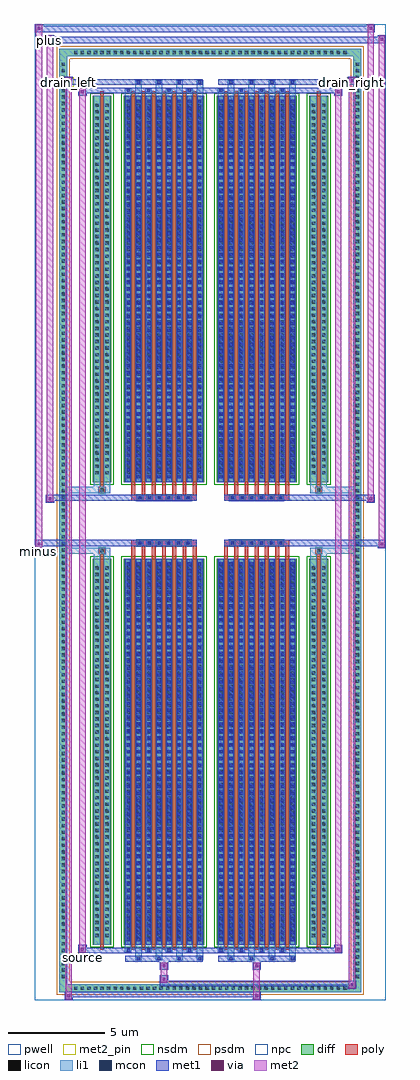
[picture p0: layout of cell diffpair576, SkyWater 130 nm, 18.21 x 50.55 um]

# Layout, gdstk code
import gdstk
lib = gdstk.Library(unit=1e-6, precision=5e-09)
def R(c, l, rs):  # rectangles x0, y0, x1, y1
    for r in rs: c.add(gdstk.rectangle(r[:2], r[2:], *l))
def A(c, l, x, y, w, h, nx, ny, dx, dy):  # array of equal rectangles
    R(c, l, [(x+i*dx, y+j*dy, x+i*dx+w, y+j*dy+h) for i in range(nx) for j in range(ny)])
def P(c, l, *ps):  # polygons
    for p in ps: c.add(gdstk.Polygon(p, *l))
pwell = (64, 44)
diff = (65, 20)
poly = (66, 20)
licon = (66, 44)
li1 = (67, 20)
mcon = (67, 44)
met1 = (68, 20)
via = (68, 44)
met2_pin = (69, 16)
met2 = (69, 20)
nsdm = (93, 44)
psdm = (94, 20)
npc = (95, 20)

diffpair576 = lib.new_cell('diffpair576')
R(diffpair576, pwell, [(-9.09,-24.84,9.09,25.71), (-6.41,-23.03,-0.01,-0.805), (0.01,-23.03,6.41,-0.805), (-6.41,0.805,-0.01,23.03), (0.01,0.805,6.41,23.03)])
A(diffpair576, diff, -7.175, -24.44, 0.41, 0.41, 42, 2, 0.34, 48.47)
A(diffpair576, diff, -7.82, -23.835, 0.41, 0.41, 1, 140, 0, 0.34)
A(diffpair576, diff, 7.41, -23.835, 0.41, 0.41, 1, 140, 0, 0.34)
R(diffpair576, diff, [(-7.175,-24.44,7.175,-24.03), (-7.82,-23.835,-7.41,23.835), (7.41,-23.835,7.82,23.835), (-6.1,-21.985,-5.12,-1.985), (-4.48,-21.985,-0.32,-1.985), (0.32,-21.985,4.48,-1.985), (5.12,-21.985,6.1,-1.985), (-6.1,1.985,-5.12,21.985), (-4.48,1.985,-0.32,21.985), (0.32,1.985,4.48,21.985), (5.12,1.985,6.1,21.985), (-7.175,24.03,7.175,24.44)])
P(diffpair576, diff, [(7.82,24.44),(-7.82,24.44),(-7.82,-24.03),(-7.41,-24.03),(-7.41,24.03),(7.41,24.03),(7.41,-24.03),(-7.41,-24.03),(-7.82,-24.03),(-7.82,-24.44),(7.82,-24.44)])
A(diffpair576, poly, -4.09, -22.235, 0.2, 20.5, 7, 2, 0.53, 23.97)
A(diffpair576, poly, 0.71, -22.235, 0.2, 20.5, 7, 2, 0.53, 23.97)
A(diffpair576, poly, -4.09, -1.735, 0.2, 0.4, 7, 2, 0.53, 3.07)
A(diffpair576, poly, 0.71, -1.735, 0.2, 0.4, 7, 2, 0.53, 3.07)
A(diffpair576, poly, -3.815, -1.335, 0.33, 0.33, 6, 2, 0.5, 2.34)
A(diffpair576, poly, 0.985, -1.335, 0.33, 0.33, 6, 2, 0.5, 2.34)
R(diffpair576, poly, [(-5.71,-22.235,-5.51,-1.735), (5.51,-22.235,5.71,-1.735), (-5.775,-1.735,-5.445,-1.405), (-5.775,-1.735,-5.445,-1.405), (5.445,-1.735,5.775,-1.405), (5.445,-1.735,5.775,-1.405), (-4.09,-1.335,-0.71,-1.005), (0.71,-1.335,4.09,-1.005), (-4.09,1.005,-0.71,1.335), (0.71,1.005,4.09,1.335), (-5.775,1.405,-5.445,1.735), (-5.775,1.405,-5.445,1.735), (5.445,1.405,5.775,1.735), (5.445,1.405,5.775,1.735), (-5.71,1.735,-5.51,22.235), (5.51,1.735,5.71,22.235)])
A(diffpair576, licon, -7.055, -24.32, 0.17, 0.17, 42, 2, 0.34, 48.47)
A(diffpair576, licon, -7.7, -23.715, 0.17, 0.17, 1, 140, 0, 0.34)
A(diffpair576, licon, 7.53, -23.715, 0.17, 0.17, 1, 140, 0, 0.34)
A(diffpair576, licon, -5.96, -21.59, 0.17, 0.17, 1, 57, 0, 0.34)
A(diffpair576, licon, -5.43, -21.59, 0.17, 0.17, 1, 57, 0, 0.34)
A(diffpair576, licon, -4.34, -21.59, 0.17, 0.17, 8, 57, 0.53, 0.34)
A(diffpair576, licon, 0.46, -21.59, 0.17, 0.17, 8, 57, 0.53, 0.34)
A(diffpair576, licon, 5.26, -21.59, 0.17, 0.17, 1, 57, 0, 0.34)
A(diffpair576, licon, 5.79, -21.59, 0.17, 0.17, 1, 57, 0, 0.34)
A(diffpair576, licon, -3.735, -1.255, 0.17, 0.17, 6, 2, 0.5, 2.34)
A(diffpair576, licon, 1.065, -1.255, 0.17, 0.17, 6, 2, 0.5, 2.34)
A(diffpair576, licon, -5.96, 2.38, 0.17, 0.17, 1, 57, 0, 0.34)
A(diffpair576, licon, -5.43, 2.38, 0.17, 0.17, 1, 57, 0, 0.34)
A(diffpair576, licon, -4.34, 2.38, 0.17, 0.17, 8, 57, 0.53, 0.34)
A(diffpair576, licon, 0.46, 2.38, 0.17, 0.17, 8, 57, 0.53, 0.34)
A(diffpair576, licon, 5.26, 2.38, 0.17, 0.17, 1, 57, 0, 0.34)
A(diffpair576, licon, 5.79, 2.38, 0.17, 0.17, 1, 57, 0, 0.34)
R(diffpair576, licon, [(-5.695,-1.655,-5.525,-1.485), (5.525,-1.655,5.695,-1.485), (-5.695,1.485,-5.525,1.655), (5.525,1.485,5.695,1.655)])
A(diffpair576, li1, -7.135, -24.4, 0.33, 0.33, 42, 2, 0.34, 48.47)
A(diffpair576, li1, -7.78, -23.795, 0.33, 0.33, 1, 140, 0, 0.34)
A(diffpair576, li1, 7.45, -23.795, 0.33, 0.33, 1, 140, 0, 0.34)
A(diffpair576, li1, -3.89, -22.79, 0.33, 0.805, 4, 2, 1.06, 44.775)
A(diffpair576, li1, -3.81, -22.79, 0.17, 0.17, 4, 2, 1.06, 45.41)
A(diffpair576, li1, 0.91, -22.79, 0.33, 0.805, 4, 2, 1.06, 44.775)
A(diffpair576, li1, 0.99, -22.79, 0.17, 0.17, 4, 2, 1.06, 45.41)
A(diffpair576, li1, -4.42, -22.36, 0.33, 0.375, 4, 2, 1.06, 44.345)
A(diffpair576, li1, -4.34, -22.36, 0.17, 0.17, 4, 2, 1.06, 44.55)
A(diffpair576, li1, 0.38, -22.36, 0.33, 0.375, 4, 2, 1.06, 44.345)
A(diffpair576, li1, 0.46, -22.36, 0.17, 0.17, 4, 2, 1.06, 44.55)
A(diffpair576, li1, -4.42, -21.985, 0.33, 20, 8, 2, 0.53, 23.97)
A(diffpair576, li1, 0.38, -21.985, 0.33, 20, 8, 2, 0.53, 23.97)
A(diffpair576, li1, -4.34, -21.79, 0.17, 0.17, 8, 55, 0.53, 0.36)
A(diffpair576, li1, -4.34, -21.79, 0.17, 19.61, 8, 2, 0.53, 23.97)
A(diffpair576, li1, 0.46, -21.79, 0.17, 0.17, 8, 55, 0.53, 0.36)
A(diffpair576, li1, 0.46, -21.79, 0.17, 19.61, 8, 2, 0.53, 23.97)
A(diffpair576, li1, -6.04, -21.67, 0.33, 0.33, 1, 57, 0, 0.34)
A(diffpair576, li1, -5.51, -21.67, 0.33, 0.33, 1, 57, 0, 0.34)
A(diffpair576, li1, -4.42, -21.67, 0.33, 0.33, 8, 57, 0.53, 0.34)
A(diffpair576, li1, 0.38, -21.67, 0.33, 0.33, 8, 57, 0.53, 0.34)
A(diffpair576, li1, 5.18, -21.67, 0.33, 0.33, 1, 57, 0, 0.34)
A(diffpair576, li1, 5.71, -21.67, 0.33, 0.33, 1, 57, 0, 0.34)
A(diffpair576, li1, -3.815, -1.335, 0.33, 0.33, 6, 2, 0.5, 2.34)
A(diffpair576, li1, 0.985, -1.335, 0.33, 0.33, 6, 2, 0.5, 2.34)
A(diffpair576, li1, -4.34, 2.18, 0.17, 0.17, 8, 55, 0.53, 0.36)
A(diffpair576, li1, 0.46, 2.18, 0.17, 0.17, 8, 55, 0.53, 0.36)
A(diffpair576, li1, -6.04, 2.3, 0.33, 0.33, 1, 57, 0, 0.34)
A(diffpair576, li1, -5.51, 2.3, 0.33, 0.33, 1, 57, 0, 0.34)
A(diffpair576, li1, -4.42, 2.3, 0.33, 0.33, 8, 57, 0.53, 0.34)
A(diffpair576, li1, 0.38, 2.3, 0.33, 0.33, 8, 57, 0.53, 0.34)
A(diffpair576, li1, 5.18, 2.3, 0.33, 0.33, 1, 57, 0, 0.34)
A(diffpair576, li1, 5.71, 2.3, 0.33, 0.33, 1, 57, 0, 0.34)
R(diffpair576, li1, [(-7.82,-24.44,-7.41,-24.03), (-7.82,-24.44,-7.41,-24.03), (-7.41,-24.44,7.41,-24.03), (7.41,-24.44,7.82,-24.03), (7.41,-24.44,7.82,-24.03), (-7.82,-24.03,-7.41,24.03), (7.41,-24.03,7.82,24.03), (-6.04,-21.985,-5.71,-1.985), (-5.51,-21.985,-5.18,-1.985), (5.18,-21.985,5.51,-1.985), (5.71,-21.985,6.04,-1.985), (-6.04,-1.985,-5.71,-1.405), (-5.51,-1.985,-5.18,-1.405), (5.18,-1.985,5.51,-1.405), (5.71,-1.985,6.04,-1.405), (-7.82,-1.735,-5.775,-1.405), (-6.04,-1.735,-5.775,-1.405), (-5.775,-1.735,-5.445,-1.405), (-5.445,-1.735,-5.18,-1.405), (5.18,-1.735,5.445,-1.405), (5.445,-1.735,5.775,-1.405), (5.445,-1.735,7.82,-1.405), (5.775,-1.735,6.04,-1.405), (-7.82,1.405,-5.775,1.735), (-6.04,1.405,-5.775,1.735), (-6.04,1.405,-5.71,1.985), (-5.775,1.405,-5.445,1.735), (-5.51,1.405,-5.18,1.985), (-5.445,1.405,-5.18,1.735), (5.18,1.405,5.445,1.735), (5.18,1.405,5.51,1.985), (5.445,1.405,5.775,1.735), (5.445,1.405,7.82,1.735), (5.71,1.405,6.04,1.985), (5.775,1.405,6.04,1.735), (-6.04,1.985,-5.71,21.985), (-5.51,1.985,-5.18,21.985), (5.18,1.985,5.51,21.985), (5.71,1.985,6.04,21.985), (-7.82,24.03,-7.41,24.44), (-7.82,24.03,-7.41,24.44), (-7.41,24.03,7.41,24.44), (7.41,24.03,7.82,24.44), (7.41,24.03,7.82,24.44)])
A(diffpair576, mcon, -3.81, -22.79, 0.17, 0.17, 4, 2, 1.06, 45.41)
A(diffpair576, mcon, 0.99, -22.79, 0.17, 0.17, 4, 2, 1.06, 45.41)
A(diffpair576, mcon, -4.34, -22.36, 0.17, 0.17, 4, 2, 1.06, 44.55)
A(diffpair576, mcon, 0.46, -22.36, 0.17, 0.17, 4, 2, 1.06, 44.55)
A(diffpair576, mcon, -4.34, -21.79, 0.17, 0.17, 8, 55, 0.53, 0.36)
A(diffpair576, mcon, 0.46, -21.79, 0.17, 0.17, 8, 55, 0.53, 0.36)
A(diffpair576, mcon, -3.735, -1.255, 0.17, 0.17, 6, 2, 0.5, 2.34)
A(diffpair576, mcon, 1.065, -1.255, 0.17, 0.17, 6, 2, 0.5, 2.34)
A(diffpair576, mcon, -4.34, 2.18, 0.17, 0.17, 8, 55, 0.53, 0.36)
A(diffpair576, mcon, 0.46, 2.18, 0.17, 0.17, 8, 55, 0.53, 0.36)
A(diffpair576, met1, -3.87, -22.85, 0.29, 0.29, 4, 2, 1.06, 45.41)
A(diffpair576, met1, 0.93, -22.85, 0.29, 0.29, 4, 2, 1.06, 45.41)
A(diffpair576, met1, -4.4, -22.42, 0.29, 0.29, 4, 2, 1.06, 44.55)
A(diffpair576, met1, 0.4, -22.42, 0.29, 0.29, 4, 2, 1.06, 44.55)
A(diffpair576, met1, -4.4, -21.985, 0.29, 20, 8, 2, 0.53, 23.97)
A(diffpair576, met1, 0.4, -21.985, 0.29, 20, 8, 2, 0.53, 23.97)
A(diffpair576, met1, -4.4, -21.85, 0.29, 0.29, 8, 55, 0.53, 0.36)
A(diffpair576, met1, 0.4, -21.85, 0.29, 0.29, 8, 55, 0.53, 0.36)
A(diffpair576, met1, -3.795, -1.315, 0.29, 0.29, 6, 2, 0.5, 2.34)
A(diffpair576, met1, 1.005, -1.315, 0.29, 0.29, 6, 2, 0.5, 2.34)
A(diffpair576, met1, -4.4, 2.12, 0.29, 0.29, 8, 55, 0.53, 0.36)
A(diffpair576, met1, 0.4, 2.12, 0.29, 0.29, 8, 55, 0.53, 0.36)
R(diffpair576, met1, [(-7.55,-24.84,-7.12,-24.41), (2.185,-24.84,2.615,-24.41), (-7.55,-24.7,2.615,-24.41), (7.12,-24.27,7.55,-23.84), (-2.615,-24.13,7.55,-23.84), (-2.615,-23.99,-2.185,-23.56), (-2.615,-23.28,-2.185,-22.85), (2.185,-23.28,2.615,-22.85), (-4.4,-22.85,-0.4,-22.56), (0.4,-22.85,4.4,-22.56), (-6.84,-22.42,-6.41,-21.99), (-6.84,-22.42,-4.4,-22.13), (-4.4,-22.42,-0.4,-22.13), (-0.4,-22.42,0.4,-22.13), (0.4,-22.42,4.4,-22.13), (4.4,-22.42,6.84,-22.13), (6.41,-22.42,6.84,-21.99), (-9.09,-1.435,-8.66,-1.005), (8.66,-1.435,9.09,-1.005), (-9.09,-1.335,-0.71,-1.005), (-4.09,-1.335,-0.71,-1.005), (0.71,-1.335,4.09,-1.005), (0.71,-1.335,9.09,-1.005), (-8.52,0.905,-8.09,1.335), (8.09,0.905,8.52,1.335), (-8.52,1.005,-4.09,1.335), (-4.09,1.005,-0.71,1.335), (0.71,1.005,4.09,1.335), (4.09,1.005,8.52,1.335), (-6.84,21.99,-6.41,22.42), (6.41,21.99,6.84,22.42), (-6.84,22.13,-4.4,22.42), (-4.4,22.13,-0.4,22.42), (-0.4,22.13,0.4,22.42), (0.4,22.13,4.4,22.42), (4.4,22.13,6.84,22.42), (-7.55,22.56,-7.12,22.99), (-7.55,22.56,-4.4,22.85), (-4.4,22.56,-0.4,22.85), (0.4,22.56,4.4,22.85), (4.4,22.56,7.55,22.85), (7.12,22.56,7.55,22.99), (-8.52,24.71,-8.09,25.14), (-8.52,24.71,-6.41,25.04), (-6.41,24.71,6.41,25.04), (6.41,24.71,9.09,25.04), (8.66,24.71,9.09,25.14), (-9.09,25.28,-8.66,25.71), (-9.09,25.28,-6.41,25.61), (-6.41,25.28,6.41,25.61), (6.41,25.28,8.52,25.61), (8.09,25.28,8.52,25.71)])
R(diffpair576, via, [(-7.41,-24.7,-7.26,-24.55), (2.325,-24.7,2.475,-24.55), (7.26,-24.13,7.41,-23.98), (-2.475,-23.85,-2.325,-23.7), (-2.475,-23.14,-2.325,-22.99), (2.325,-23.14,2.475,-22.99), (-6.7,-22.28,-6.55,-22.13), (6.55,-22.28,6.7,-22.13), (-8.95,-1.295,-8.8,-1.145), (8.8,-1.295,8.95,-1.145), (-8.38,1.045,-8.23,1.195), (8.23,1.045,8.38,1.195), (-6.7,22.13,-6.55,22.28), (6.55,22.13,6.7,22.28), (-7.41,22.7,-7.26,22.85), (7.26,22.7,7.41,22.85), (-8.38,24.85,-8.23,25), (8.8,24.85,8.95,25), (-8.95,25.42,-8.8,25.57), (8.23,25.42,8.38,25.57)])
R(diffpair576, met2_pin, [(-6.875,-22.87,-6.375,-22.37), (-9.125,-1.885,-8.625,-1.385), (-7.585,22.44,-7.085,22.94), (7.085,22.44,7.585,22.94), (-8.555,24.59,-8.055,25.09)])
R(diffpair576, met2, [(-7.5,-24.79,-7.17,-24.46), (-7.5,-24.79,-7.17,22.94), (2.235,-24.79,2.565,-24.46), (2.235,-24.46,2.565,-23.23), (7.17,-24.22,7.5,-23.89), (7.17,-24.22,7.5,22.94), (-2.565,-23.94,-2.235,-23.61), (-2.565,-23.61,-2.235,-23.23), (-2.565,-23.23,-2.235,-22.9), (2.235,-23.23,2.565,-22.9), (-6.79,-22.37,-6.46,-22.04), (-6.79,-22.37,-6.46,22.37), (6.46,-22.37,6.79,-22.04), (6.46,-22.37,6.79,22.37), (-9.04,-1.385,-8.71,-1.055), (-9.04,-1.385,-8.71,25.66), (8.71,-1.385,9.04,-1.055), (8.71,-1.385,9.04,25.09), (-8.47,0.955,-8.14,1.285), (-8.47,0.955,-8.14,25.09), (8.14,0.955,8.47,1.285), (8.14,0.955,8.47,25.66), (-6.79,22.04,-6.46,22.37), (6.46,22.04,6.79,22.37), (-7.5,22.61,-7.17,22.94), (7.17,22.61,7.5,22.94), (-8.47,24.76,-8.14,25.09), (8.71,24.76,9.04,25.09), (-9.04,25.33,-8.71,25.66), (8.14,25.33,8.47,25.66)])
P(diffpair576, met2, [(9.04,-1.385),(9.04,-1.385),(9.04,-1.055),(9.04,-1.055)],
  [(9.04,24.76),(9.04,24.76),(9.04,25.09),(9.04,25.09)],
  [(-8.71,-1.385),(-8.71,-1.385),(-8.71,-1.055),(-8.71,-1.055)],
  [(-8.71,25.33),(-8.71,25.33),(-8.71,25.66),(-8.71,25.66)],
  [(8.47,0.955),(8.47,0.955),(8.47,1.285),(8.47,1.285)],
  [(8.47,25.33),(8.47,25.33),(8.47,25.66),(8.47,25.66)],
  [(-8.14,0.955),(-8.14,0.955),(-8.14,1.285),(-8.14,1.285)],
  [(-8.14,24.76),(-8.14,24.76),(-8.14,25.09),(-8.14,25.09)],
  [(-7.17,-24.79),(-7.17,-24.79),(-7.17,-24.46),(-7.17,-24.46)],
  [(-7.17,22.61),(-7.17,22.61),(-7.17,22.94),(-7.17,22.94)],
  [(7.5,-24.22),(7.5,-24.22),(7.5,-23.89),(7.5,-23.89)],
  [(7.5,22.61),(7.5,22.61),(7.5,22.94),(7.5,22.94)],
  [(-6.46,-22.37),(-6.46,-22.37),(-6.46,-22.04),(-6.46,-22.04)],
  [(-6.46,22.04),(-6.46,22.04),(-6.46,22.37),(-6.46,22.37)],
  [(6.79,-22.37),(6.79,-22.37),(6.79,-22.04),(6.79,-22.04)],
  [(6.79,22.04),(6.79,22.04),(6.79,22.37),(6.79,22.37)])
R(diffpair576, nsdm, [(-6.23,-22.115,-4.99,-1.855), (-4.61,-22.115,-0.19,-1.855), (0.19,-22.115,4.61,-1.855), (4.99,-22.115,6.23,-1.855), (-6.23,1.855,-4.99,22.115), (-4.61,1.855,-0.19,22.115), (0.19,1.855,4.61,22.115), (4.99,1.855,6.23,22.115)])
P(diffpair576, psdm, [(7.95,24.57),(-7.95,24.57),(-7.95,-23.9),(-7.28,-23.9),(-7.28,23.9),(7.28,23.9),(7.28,-23.9),(-7.28,-23.9),(-7.95,-23.9),(-7.95,-24.57),(7.95,-24.57)])
A(diffpair576, npc, -3.835, -1.355, 0.37, 0.37, 6, 2, 0.5, 2.34)
A(diffpair576, npc, 0.965, -1.355, 0.37, 0.37, 6, 2, 0.5, 2.34)
R(diffpair576, npc, [(-5.795,-1.755,-5.425,-1.385), (5.425,-1.755,5.795,-1.385), (-3.835,-1.355,-2.965,-0.985), (-3.835,-1.355,-2.965,-0.985), (-3.335,-1.355,-2.465,-0.985), (-3.335,-1.355,-2.465,-0.985), (-2.835,-1.355,-1.965,-0.985), (-2.835,-1.355,-1.965,-0.985), (-2.335,-1.355,-1.465,-0.985), (-2.335,-1.355,-1.465,-0.985), (-1.835,-1.355,-0.965,-0.985), (-1.835,-1.355,-0.965,-0.985), (0.965,-1.355,1.835,-0.985), (0.965,-1.355,1.835,-0.985), (1.465,-1.355,2.335,-0.985), (1.465,-1.355,2.335,-0.985), (1.965,-1.355,2.835,-0.985), (1.965,-1.355,2.835,-0.985), (2.465,-1.355,3.335,-0.985), (2.465,-1.355,3.335,-0.985), (2.965,-1.355,3.835,-0.985), (2.965,-1.355,3.835,-0.985), (-3.835,0.985,-2.965,1.355), (-3.835,0.985,-2.965,1.355), (-3.335,0.985,-2.465,1.355), (-3.335,0.985,-2.465,1.355), (-2.835,0.985,-1.965,1.355), (-2.835,0.985,-1.965,1.355), (-2.335,0.985,-1.465,1.355), (-2.335,0.985,-1.465,1.355), (-1.835,0.985,-0.965,1.355), (-1.835,0.985,-0.965,1.355), (0.965,0.985,1.835,1.355), (0.965,0.985,1.835,1.355), (1.465,0.985,2.335,1.355), (1.465,0.985,2.335,1.355), (1.965,0.985,2.835,1.355), (1.965,0.985,2.835,1.355), (2.465,0.985,3.335,1.355), (2.465,0.985,3.335,1.355), (2.965,0.985,3.835,1.355), (2.965,0.985,3.835,1.355), (-5.795,1.385,-5.425,1.755), (5.425,1.385,5.795,1.755)])
diffpair576.add(gdstk.Label('minus', (-8.875,-1.635), layer=69, texttype=5))
diffpair576.add(gdstk.Label('drain_right', (7.335,22.69), layer=69, texttype=5))
diffpair576.add(gdstk.Label('drain_left', (-7.335,22.69), layer=69, texttype=5))
diffpair576.add(gdstk.Label('source', (-6.625,-22.62), layer=69, texttype=5))
diffpair576.add(gdstk.Label('plus', (-8.305,24.84), layer=69, texttype=5))

lib.write_gds('diffpair576.gds')
